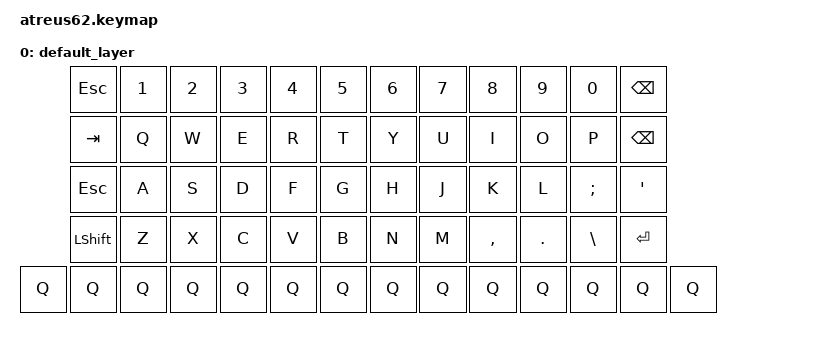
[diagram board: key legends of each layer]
/*
 * Copyright (c) 2020 The ZMK Contributors
 *
 * SPDX-License-Identifier: MIT
 */

#include <behaviors.dtsi>
#include <dt-bindings/zmk/keys.h>
#include <dt-bindings/zmk/bt.h>

/ {
	keymap {
		compatible = "zmk,keymap";

		default_layer {
				// |ESC|1  |2  |3  |4  |5  |-------|6  |7  |8  |9  |0  |\  |
				// |TAB|Q  |W  |E  |R  |T  |-------|Y  |U  |I  |O  |P  |BSP|
				// |CAP|A  |S  |D  |F  |G  |-------|H  |J  |K  |L  |;  |RET|
				// |SHF|Z  |X  |C  |V  |B  |-------|N  |M  |,  |.  |UP |/  |
				// |CTR|GUI|ALT|   |   |   |SPC|SPC|   |   |   |LEF|DWN|RGT|
			bindings = <
				&kp ESC &kp N1 &kp N2 &kp N3 &kp N4 &kp N5	&kp N6 &kp N7 &kp N8 &kp N9 &kp N0 &kp BSPC
				&kp TAB  &kp Q    &kp W &kp E &kp R &kp T  &kp Y   &kp U  &kp I    &kp O   &kp P    &kp BSPC
				&kp ESC  &kp A    &kp S &kp D &kp F &kp G  &kp H   &kp J  &kp K    &kp L   &kp SEMI &kp SQT
				&kp LSHFT &kp Z    &kp X &kp C &kp V &kp B  &kp N   &kp M  &kp COMMA &kp DOT &kp BSLH &kp RET
				&kp Q &kp Q &kp Q &kp Q &kp Q &kp Q &kp Q &kp Q &kp Q &kp Q &kp Q &kp Q &kp Q &kp Q
			>;
		};
	};
};
